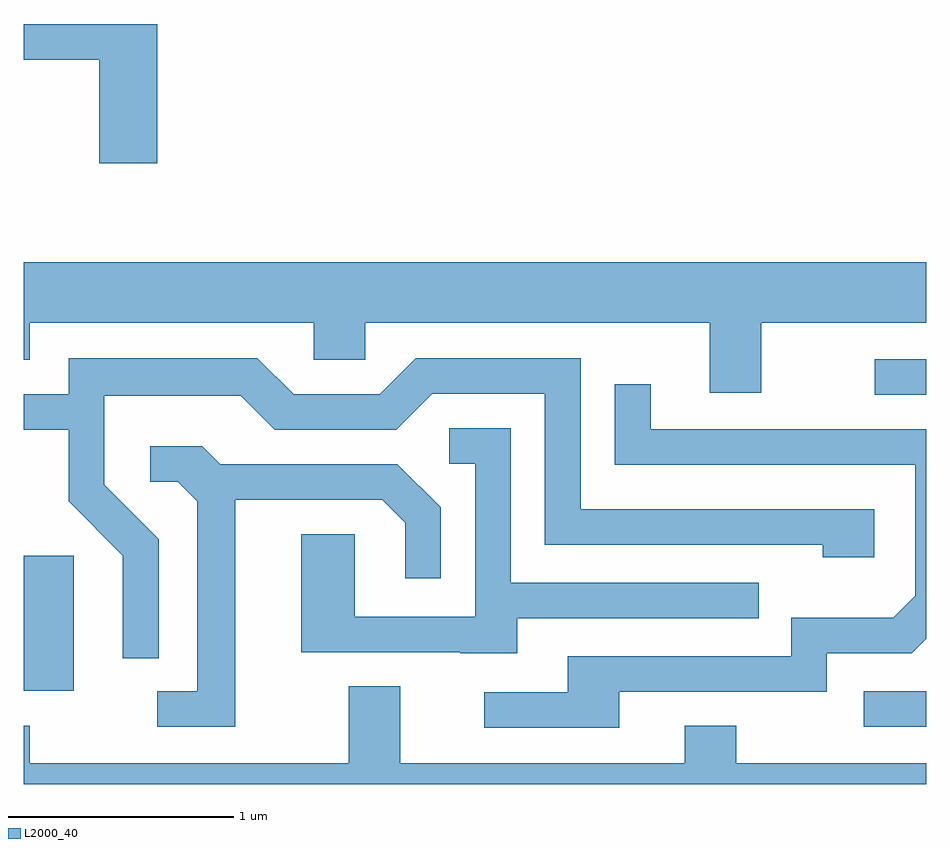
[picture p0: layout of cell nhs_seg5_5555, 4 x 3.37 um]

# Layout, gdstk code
import gdstk
lib = gdstk.Library(unit=1e-6, precision=1e-09)
def R(c, l, rs):  # rectangles x0, y0, x1, y1
    for r in rs: c.add(gdstk.rectangle(r[:2], r[2:], *l))
def P(c, l, *ps):  # polygons
    for p in ps: c.add(gdstk.Polygon(p, *l))
L2000_40 = (2000, 40)

nhs_seg5_5555 = lib.new_cell('nhs_seg5_5555')
R(nhs_seg5_5555, L2000_40, [(353.333,1468.326,353.611,1468.484), (349.611,1468.486,349.834,1469.084), (353.383,1469.796,353.611,1469.954)])
P(nhs_seg5_5555, L2000_40, [(350.204,1471.439),(349.611,1471.439),(349.611,1471.281),(349.946,1471.281),(349.946,1470.821),(350.204,1470.821)],
  [(352.879,1470.116),(353.611,1470.116),(353.611,1470.384),(349.611,1470.384),(349.611,1469.951),(349.639,1469.951),(349.639,1470.116),(350.896,1470.116),(350.896,1469.951),(351.124,1469.951),(351.124,1470.116),(352.651,1470.116),(352.651,1469.806),(352.879,1469.806)],
  [(350.209,1469.157),(349.969,1469.397),(349.969,1469.791),(350.574,1469.791),(350.724,1469.641),(351.262,1469.641),(351.422,1469.801),(351.921,1469.801),(351.921,1469.131),(353.151,1469.131),(353.151,1469.076),(353.379,1469.076),(353.379,1469.289),(352.079,1469.289),(352.079,1469.959),(351.349,1469.959),(351.189,1469.799),(350.807,1469.799),(350.647,1469.959),(349.811,1469.959),(349.811,1469.799),(349.611,1469.799),(349.611,1469.641),(349.811,1469.641),(349.811,1469.324),(350.051,1469.084),(350.051,1468.628),(350.209,1468.628)],
  [(352.249,1468.481),(353.169,1468.481),(353.169,1468.651),(353.547,1468.651),(353.611,1468.715),(353.611,1469.644),(352.389,1469.644),(352.389,1469.843),(352.231,1469.843),(352.231,1469.486),(353.561,1469.486),(353.561,1468.907),(353.464,1468.809),(353.011,1468.809),(353.011,1468.639),(352.021,1468.639),(352.021,1468.479),(351.653,1468.479),(351.653,1468.321),(352.249,1468.321)],
  [(351.799,1468.806),(352.868,1468.806),(352.868,1468.964),(351.769,1468.964),(351.769,1469.649),(351.498,1469.649),(351.498,1469.491),(351.611,1469.491),(351.611,1468.814),(351.079,1468.814),(351.079,1469.179),(350.841,1469.179),(350.841,1468.656),(351.545,1468.656),(351.545,1468.651),(351.799,1468.651)],
  [(350.549,1469.331),(351.199,1469.331),(351.301,1469.229),(351.301,1468.983),(351.459,1468.983),(351.459,1469.297),(351.267,1469.489),(350.482,1469.489),(350.402,1469.569),(350.173,1469.569),(350.173,1469.411),(350.294,1469.411),(350.381,1469.324),(350.381,1468.484),(350.203,1468.484),(350.203,1468.326),(350.549,1468.326)],
  [(353.611,1468.164),(352.769,1468.164),(352.769,1468.329),(352.541,1468.329),(352.541,1468.164),(351.279,1468.164),(351.279,1468.504),(351.051,1468.504),(351.051,1468.164),(349.639,1468.164),(349.639,1468.329),(349.611,1468.329),(349.611,1468.072),(353.611,1468.072)])

lib.write_gds('nhs_seg5_5555.gds')
